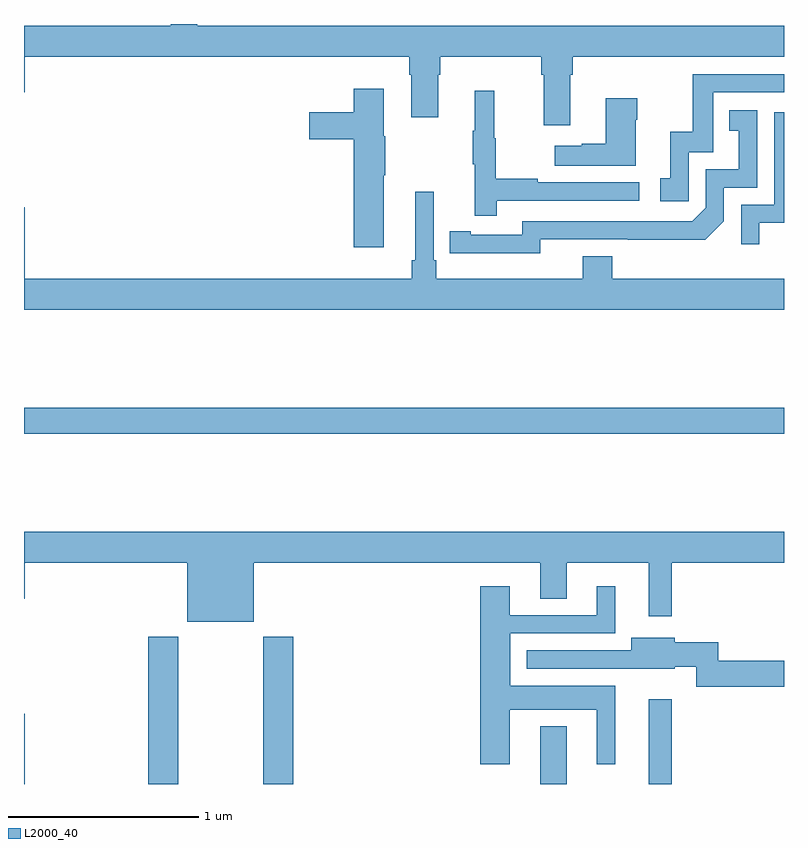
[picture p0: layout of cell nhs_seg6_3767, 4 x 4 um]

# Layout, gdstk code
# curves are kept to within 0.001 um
import gdstk
lib = gdstk.Library(unit=1e-6, precision=1e-09)
def R(c, l, rs):  # rectangles x0, y0, x1, y1
    for r in rs: c.add(gdstk.rectangle(r[:2], r[2:], *l))
def P(c, l, *ps):  # polygons
    for p in ps: c.add(gdstk.Polygon(p, *l))
L2000_40 = (2000, 40)

nhs_seg6_3767 = lib.new_cell('nhs_seg6_3767')
R(nhs_seg6_3767, L2000_40, [(333,951.5,333.004,951.871), (333.653,951.5,333.813,952.276), (334.258,951.5,334.418,952.276), (335.717,951.5,335.857,951.805), (336.287,951.5,336.409,951.946), (333,953.344,337,953.48)])
P(nhs_seg6_3767, L2000_40, [(333,955.14),(333.004,955.14),(333.004,955.328),(335.027,955.328),(335.027,955.232),(335.039,955.232),(335.039,955.008),(335.179,955.008),(335.179,955.232),(335.192,955.232),(335.192,955.328),(335.723,955.328),(335.723,955.232),(335.735,955.232),(335.735,954.966),(335.875,954.966),(335.875,955.232),(335.888,955.232),(335.888,955.328),(337,955.328),(337,955.492),(333.913,955.492),(333.913,955.5),(333.773,955.5),(333.773,955.492),(333,955.492)],
  [(336.498,954.825),(336.627,954.825),(336.627,955.14),(337,955.14),(337,955.236),(336.519,955.236),(336.519,954.934),(336.401,954.934),(336.401,954.687),(336.348,954.687),(336.348,954.567),(336.498,954.567)],
  [(334.894,954.703),(334.902,954.703),(334.902,954.909),(334.894,954.909),(334.894,955.159),(334.736,955.159),(334.736,955.035),(334.5,955.035),(334.5,954.893),(334.736,954.893),(334.736,954.324),(334.894,954.324)],
  [(335.489,954.57),(336.238,954.57),(336.238,954.666),(335.705,954.666),(335.705,954.686),(335.482,954.686),(335.482,954.9),(335.474,954.9),(335.474,955.15),(335.372,955.15),(335.372,954.937),(335.361,954.937),(335.361,954.763),(335.372,954.763),(335.372,954.492),(335.489,954.492)],
  [(336.22,954.995),(336.228,954.995),(336.228,955.108),(336.062,955.108),(336.062,954.869),(335.936,954.869),(335.936,954.859),(335.793,954.859),(335.793,954.755),(336.22,954.755)],
  [(335.718,954.366),(336.586,954.365),(336.684,954.462),(336.684,954.639),(336.858,954.639),(336.858,955.045),(336.712,955.045),(336.712,954.939),(336.761,954.939),(336.761,954.735),(336.588,954.735),(336.588,954.534),(336.516,954.462),(335.622,954.462),(335.622,954.39),(335.35,954.39),(335.35,954.41),(335.242,954.41),(335.242,954.294),(335.718,954.293)],
  [(336.871,954.453),(337,954.453),(337,955.035),(336.948,955.035),(336.948,954.549),(336.774,954.549),(336.774,954.342),(336.871,954.342)],
  [(337,954.16),(336.095,954.16),(336.095,954.277),(335.942,954.277),(335.942,954.16),(335.171,954.16),(335.171,954.256),(335.157,954.256),(335.157,954.616),(335.06,954.616),(335.06,954.256),(335.041,954.256),(335.041,954.16),(333.004,954.16),(333.004,954.535),(333,954.535),(333,953.996),(337,953.996)],
  [(334.21,952.664),(335.717,952.664),(335.717,952.474),(335.857,952.474),(335.857,952.664),(336.287,952.664),(336.287,952.383),(336.409,952.383),(336.409,952.664),(337,952.664),(337,952.828),(333,952.828),(333,952.476),(333.004,952.476),(333.004,952.664),(333.86,952.664),(333.86,952.355),(334.21,952.355)],
  [(335.557,951.89),(336.014,951.89),(336.014,951.603),(336.112,951.603),(336.112,952.018),(335.56,952.018),(335.56,952.293),(336.112,952.293),(336.112,952.54),(336.014,952.54),(336.014,952.389),(335.557,952.389),(335.557,952.54),(335.402,952.54),(335.402,951.603),(335.557,951.603)],
  [(337,952.148),(336.653,952.148),(336.653,952.246),(336.424,952.246),(336.424,952.27),(336.197,952.27),(336.197,952.203),(335.645,952.203),(335.645,952.107),(336.201,952.107),(336.201,952.106),(336.424,952.106),(336.424,952.117),(336.537,952.117),(336.537,952.012),(337,952.012)])

lib.write_gds('nhs_seg6_3767.gds')
